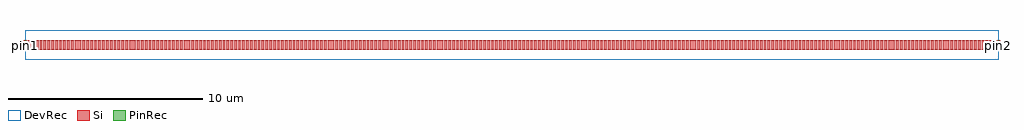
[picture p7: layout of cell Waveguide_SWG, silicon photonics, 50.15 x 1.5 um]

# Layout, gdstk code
import gdstk
lib = gdstk.Library(unit=1e-6, precision=1e-09)
def R(c, l, rs):  # rectangles x0, y0, x1, y1
    for r in rs: c.add(gdstk.rectangle(r[:2], r[2:], *l))
def A(c, l, x, y, w, h, nx, ny, dx, dy):  # array of equal rectangles
    R(c, l, [(x+i*dx, y+j*dy, x+i*dx+w, y+j*dy+h) for i in range(nx) for j in range(ny)])
Si = (1, 0)
PinRec = (1, 10)
DevRec = (68, 0)

waveguide_swg = lib.new_cell('Waveguide_SWG')
A(waveguide_swg, Si, -0.075, -0.25, 0.15, 0.5, 251, 1, 0.2, 0)
R(waveguide_swg, DevRec, [(0,-0.75,50,0.75)])
waveguide_swg.add(gdstk.FlexPath([(0.01,0),(-0.01,0)], 0.5, ends="flush", simple_path=True, layer=1, datatype=10))  # PinRec
waveguide_swg.add(gdstk.FlexPath([(49.99,0),(50.01,0)], 0.5, ends="flush", simple_path=True, layer=1, datatype=10))  # PinRec
waveguide_swg.add(gdstk.Label('pin1', (0,0), layer=1, texttype=10))
waveguide_swg.add(gdstk.Label('pin2', (50,0), layer=1, texttype=10))
waveguide_swg.add(gdstk.Label('Lumerical_INTERCONNECT_library=Design kits/ebeam_v1.2', (0,0), layer=68, texttype=0))
waveguide_swg.add(gdstk.Label('Component=NO_MODEL_AVAILABLE', (5,0), layer=68, texttype=0))
waveguide_swg.add(gdstk.Label('Spice_param:length=50.000u target_period=0.200u grating_period=0.200u wg_width=0.500u duty=0.750 ', (5.555,-0.3), layer=68, texttype=0))

lib.write_gds('Waveguide_SWG.gds')
